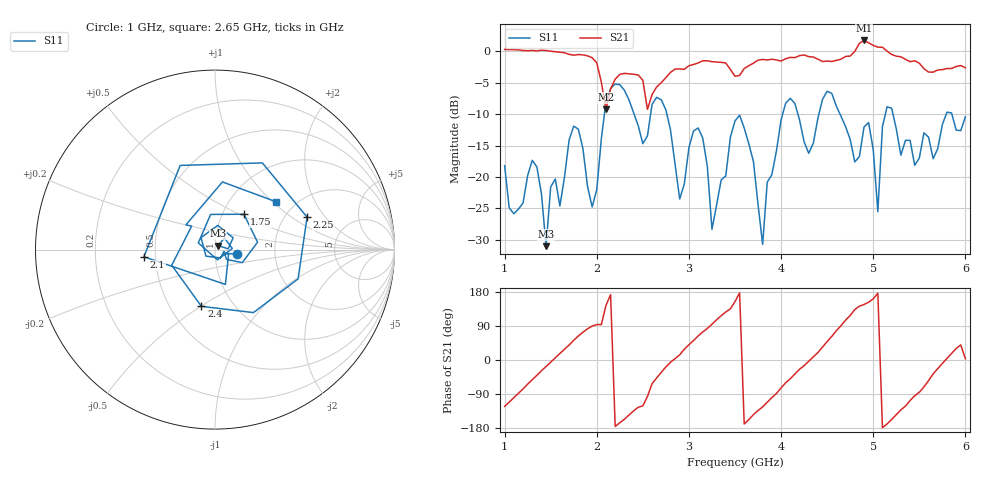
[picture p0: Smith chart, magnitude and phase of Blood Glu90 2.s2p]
! NanoVNA-App
! Date: 2024-03-21 13:44:13
! Start: 1GHz Stop: 6GHz Points: 101
! S-Parameter data: F S11 S21 S12 S22
# Hz S RI R 50
!	Frequency	S11_Real	S11_Imag	S21_Real	S21_Imag	S12_Real	S12_Imag	S22_Real	S22_Imag
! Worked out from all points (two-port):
!   101 points, 1 GHz to 6 GHz, reference 50 ohm
!   highest |S21| = 1.75 dB at 4.9 GHz (marker M1); lowest = -9.2 dB at 2.1 GHz (marker M2)
!   |S21| within 3 dB of the highest: start of sweep to 1.965 GHz; 4.646 GHz to 5.349 GHz (703.4 MHz wide, 14.1 % of centre) (the widest 2 of 4)
!   lowest |S11| = -31.0 dB at 1.45 GHz (marker M3), VSWR 1.06, Z = 51.7 + j2.31 ohm
!   |S11| at or under -10 dB: start of sweep to 2.083 GHz; 2.761 GHz to 4.017 GHz (1.256 GHz wide, 37.1 % of centre); 5.215 GHz to 5.792 GHz (576.9 MHz wide, 10.5 % of centre) (the widest 3 of 7)
!   S12 and S22 are empty: the file has one direction only
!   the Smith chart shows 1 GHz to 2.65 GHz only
!   S11 on the Smith chart (normalised r, x): 1 GHz: 1.27, -0.06; 1.75 GHz: 1.26, +0.53; 2.1 GHz: 0.43, -0.04; 2.25 GHz: 2.61, +1.34; 2.4 GHz: 0.71, -0.50; 2.65 GHz: 1.60, +1.05
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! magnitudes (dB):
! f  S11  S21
! 1 GHz  -18.2  0.3
! 1.35 GHz  -18.4  0.1
! 1.45 GHz  -31.0  0.1
! 1.75 GHz  -11.9  -0.6
! 1.85 GHz  -15.5  -0.5
! 1.95 GHz  -24.8  -1.0
! 2.1 GHz  -8.0  -9.2
! 2.25 GHz  -5.3  -3.6
! 2.4 GHz  -9.8  -3.6
! 2.65 GHz  -7.3  -5.7
! 2.7 GHz  -7.7  -5.0
! 2.9 GHz  -23.5  -2.8
! 3.15 GHz  -13.8  -1.5
! 3.25 GHz  -28.3  -1.6
! 3.5 GHz  -11.1  -3.9
! 3.8 GHz  -30.7  -1.3
! 4.05 GHz  -8.2  -1.2
! 4.35 GHz  -14.6  -0.9
! 4.9 GHz  -12.0  1.8
! 5.05 GHz  -25.5  0.7
! 5.2 GHz  -9.0  -0.5
! 6 GHz  -10.4  -2.6
